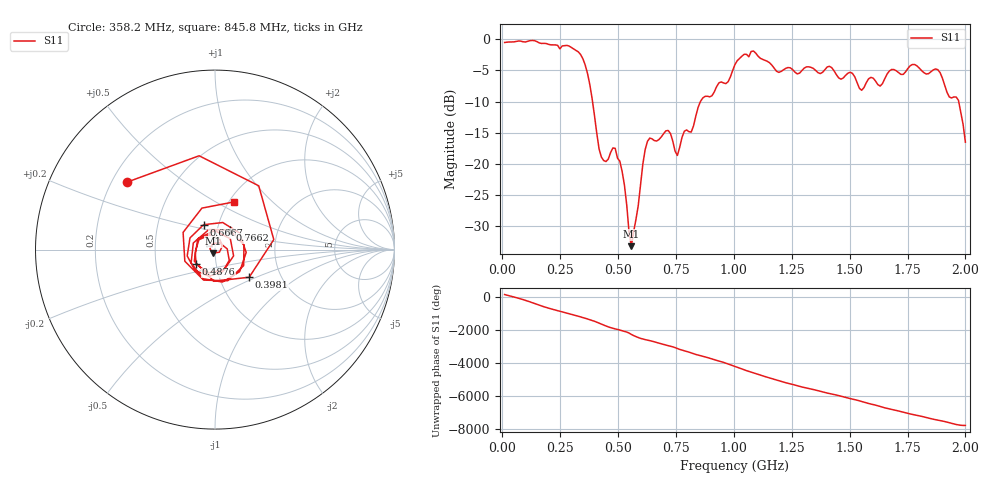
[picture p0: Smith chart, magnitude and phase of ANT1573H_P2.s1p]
!Created with skrf (http://scikit-rf.org).
# Hz S RI R 50.0
!freq ReS11 ImS11
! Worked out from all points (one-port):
!   201 points, 10 MHz to 2 GHz, reference 50 ohm
!   lowest |S11| = -33.2 dB at 557.2 MHz (marker M1), VSWR 1.04, Z = 49 - j1.92 ohm
!   |S11| at or under -10 dB: 389.7 MHz to 855.6 MHz (465.9 MHz wide, 74.8 % of centre); 1.971 GHz to end of sweep
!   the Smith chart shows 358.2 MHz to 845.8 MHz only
!   S11 on the Smith chart (normalised r, x): 358.2 MHz: 0.26, +0.32; 398.1 MHz: 1.38, -0.45; 487.6 MHz: 0.80, -0.13; 666.7 MHz: 0.85, +0.24; 766.2 MHz: 1.15, +0.25; 845.8 MHz: 1.05, +0.61
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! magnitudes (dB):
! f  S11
! 10 MHz  -0.5
! 258.8 MHz  -1.1
! 358.2 MHz  -4.2
! 398.1 MHz  -12.2
! 427.9 MHz  -18.9
! 487.6 MHz  -17.5
! 507.5 MHz  -19.5
! 527.4 MHz  -23.4
! 557.2 MHz  -33.2
! 617 MHz  -17.7
! 666.7 MHz  -16.3
! 716.5 MHz  -14.6
! 756.2 MHz  -18.6
! 766.2 MHz  -17.3
! 786.1 MHz  -14.8
! 816 MHz  -14.9
! 845.8 MHz  -10.9
! 1.005 GHz  -4.0
! 1.085 GHz  -1.9
! 1.194 GHz  -5.3
! 1.254 GHz  -4.9
! 1.502 GHz  -5.3
! 1.552 GHz  -8.2
! 1.751 GHz  -4.7
! 1.891 GHz  -5.3
! 1.93 GHz  -9.3
! 1.97 GHz  -9.8
! 2 GHz  -16.5
